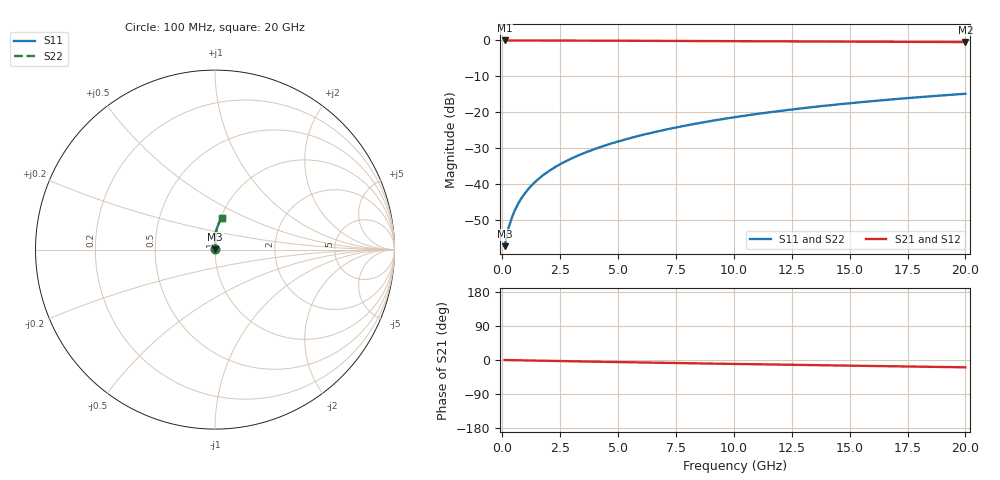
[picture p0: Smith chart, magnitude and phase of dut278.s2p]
! Touchstone file exported from HFSS 2024.1.0
!  File:  C:/UserFiles/LocalFiles/RDL_TSV_Batchsim/temp_RDL_top_278_1778689986.aedt
!  Generated:  12:35:12 AM May 14, 2026
!  Design:  RDL_top
!  Project:  temp_RDL_top_278_1778689986
!  Setup:  Setup1
!  Solution:  Sweep
! Variables:
!  dtsv = 10.80580581um
!  hbump = 3um
!  htsv = 85.22um
!  ldown = 100um
!  lrdl = 271.6um
!  p = 40
!  p1 = 45.7um
!  rhole = 1um
!  t = 450um
!  tdown = 3.915915916um
!  trdl = 4.48um
!  wdown = 15.38538539um
!  wrdl = 23.56um
# GHz S MA R 50.000000
! Terminal data exported
! Port[1] = Box2_T1
! Port[2] = Box2_T2
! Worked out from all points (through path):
!   200 points, 100 MHz to 20 GHz, reference 50 ohm
!   highest |S21| = -0.01 dB at 100 MHz (marker M1); lowest = -0.5 dB at 20 GHz (marker M2)
!   group delay of S21, straight-line fit = 2.65 ps
!   lowest |S11| = -57.2 dB at 100 MHz (marker M3), VSWR 1.00, Z = 50.1 + j0.0855 ohm
!   |S11| at or under -10 dB: start of sweep to end of sweep
!   |S22| runs from -57.2 to -14.8 dB; largest |S21 - S12| = 2.2e-15
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0.1  0.001388 37.9  0.9989 -0.1  0.9989 -0.1  0.001388 37.9
! Gamma 0 0 0 0
! Port Impedance 50 0 50 0
0.2  0.002012 54.5  0.9988 -0.2  0.9988 -0.2  0.002012 54.5
0.3  0.002678 63.0  0.9987 -0.4  0.9987 -0.4  0.002678 63.0
0.4  0.003364 68.3  0.9986 -0.5  0.9986 -0.5  0.003364 68.3
0.5  0.004064 72.0  0.9986 -0.6  0.9986 -0.6  0.004064 72.0
0.6  0.004776 74.7  0.9985 -0.7  0.9985 -0.7  0.004776 74.7
0.8  0.006227 78.4  0.9984 -0.9  0.9984 -0.9  0.006227 78.4
1.1  0.008442 81.7  0.9981 -1.3  0.9981 -1.3  0.008442 81.7
1.5  0.01144 84.2  0.9977 -1.7  0.9977 -1.7  0.01144 84.2
1.8  0.01371 85.4  0.9973 -2.0  0.9973 -2.0  0.01371 85.4
2.1  0.016 86.4  0.9969 -2.4  0.9969 -2.4  0.016 86.4
2.7  0.02065 87.7  0.9958 -3.0  0.9958 -3.0  0.02065 87.7
3.5  0.027 88.8  0.9941 -3.9  0.9941 -3.9  0.027 88.8
4.2  0.03272 89.4  0.9924 -4.7  0.9924 -4.7  0.03272 89.4
5  0.03946 89.8  0.9903 -5.5  0.9903 -5.5  0.03946 89.8
6.8  0.05537 89.9  0.9851 -7.3  0.9851 -7.3  0.05537 89.9
8.4  0.07022 89.2  0.9804 -8.9  0.9804 -8.9  0.07022 89.2
10.1  0.08648 88.0  0.9754 -10.5  0.9754 -10.5  0.08648 88.0
11.7  0.102 86.5  0.9709 -11.9  0.9709 -11.9  0.102 86.5
13.4  0.1186 84.8  0.9662 -13.5  0.9662 -13.5  0.1186 84.9
16.7  0.1505 81.4  0.9574 -16.4  0.9574 -16.4  0.1505 81.4
20  0.1816 77.9  0.9486 -19.3  0.9486 -19.3  0.1816 77.9
